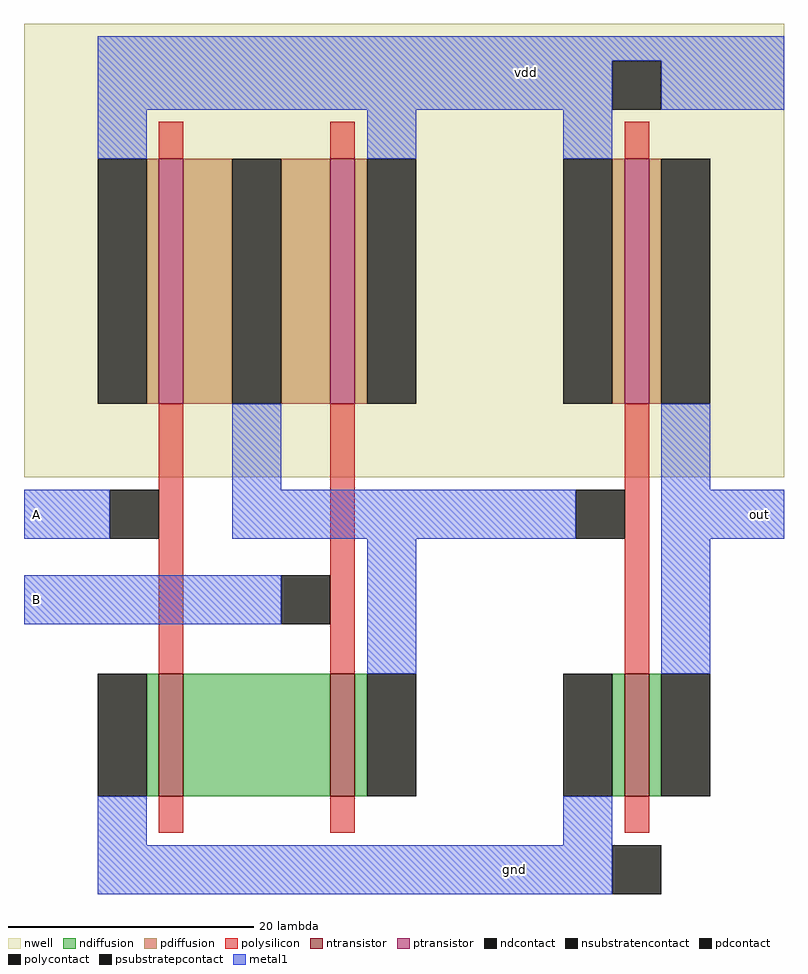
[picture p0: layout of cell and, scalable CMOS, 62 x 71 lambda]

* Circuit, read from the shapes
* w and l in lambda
.subckt and A B gnd out vdd
M1 n1 A gnd gnd nfet w=10 l=2
M2 n2 B n1 gnd nfet w=10 l=2
M3 out n2 gnd gnd nfet w=10 l=2
M4 n2 A vdd vdd pfet w=20 l=2
M5 vdd B n2 vdd pfet w=20 l=2
M6 out n2 vdd vdd pfet w=20 l=2
.ends

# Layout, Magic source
magic
tech scmos
<< nwell >>
rect 87 26 149 63
<< ntransistor >>
rect 98 0 100 10
rect 112 0 114 10
rect 136 0 138 10
<< ptransistor >>
rect 98 32 100 52
rect 112 32 114 52
rect 136 32 138 52
<< ndiffusion >>
rect 97 0 98 10
rect 100 0 112 10
rect 114 0 115 10
rect 135 0 136 10
rect 138 0 139 10
<< pdiffusion >>
rect 97 32 98 52
rect 100 32 104 52
rect 108 32 112 52
rect 114 32 115 52
rect 135 32 136 52
rect 138 32 139 52
<< ndcontact >>
rect 93 0 97 10
rect 115 0 119 10
rect 131 0 135 10
rect 139 0 143 10
<< pdcontact >>
rect 93 32 97 52
rect 104 32 108 52
rect 115 32 119 52
rect 131 32 135 52
rect 139 32 143 52
<< psubstratepcontact >>
rect 135 -8 139 -4
<< nsubstratencontact >>
rect 135 56 139 60
<< polysilicon >>
rect 98 52 100 55
rect 112 52 114 55
rect 136 52 138 55
rect 98 10 100 32
rect 112 10 114 32
rect 136 10 138 32
rect 98 -3 100 0
rect 112 -3 114 0
rect 136 -3 138 0
<< polycontact >>
rect 94 21 98 25
rect 108 14 112 18
rect 132 21 136 25
<< metal1 >>
rect 93 60 149 62
rect 93 56 135 60
rect 139 56 149 60
rect 93 52 97 56
rect 115 52 119 56
rect 131 52 135 56
rect 104 25 108 32
rect 139 25 143 32
rect 87 21 94 25
rect 104 21 132 25
rect 139 21 149 25
rect 87 14 108 18
rect 115 10 119 21
rect 139 10 143 21
rect 93 -4 97 0
rect 131 -4 135 0
rect 93 -8 135 -4
<< labels >>
rlabel metal1 147 23 147 23 7 out
rlabel metal1 128 59 128 59 4 vdd
rlabel metal1 127 -6 127 -6 2 gnd
rlabel metal1 88 23 88 23 3 A
rlabel metal1 88 16 88 16 3 B
<< end >>
